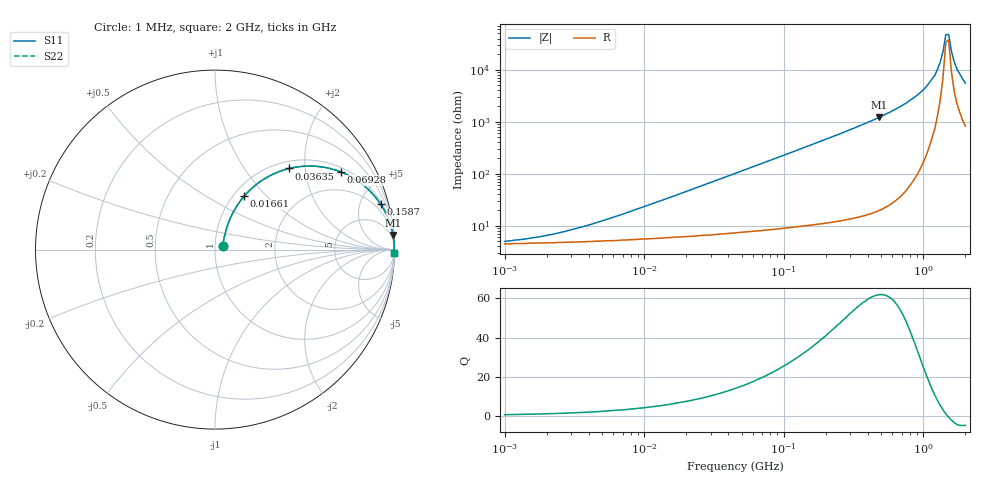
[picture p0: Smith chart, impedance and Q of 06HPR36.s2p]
# MHz S MA R 50
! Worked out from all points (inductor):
!   166 points, 1 MHz to 2 GHz, reference 50 ohm
!   read as one part in series: L = 360 nH near 7.249 MHz
!   highest Q = 61.9 at 479.6 MHz (marker M1), where L = 403 nH
!   self-resonance near 1.449 GHz
!   S11 on the Smith chart (normalised r, x): 1 MHz: 1.09, +0.05; 16.61 MHz: 1.12, +0.75; 36.35 MHz: 1.14, +1.65; 69.28 MHz: 1.16, +3.14; 158.7 MHz: 1.21, +7.26; 2 GHz: open
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1  0.048 25.5  0.957 -1.2  0.957 -1.2  0.048 25.5
1.82  0.059 39.2  0.955 -2.3  0.955 -2.3  0.059 39.2
3.632  0.091 54.5  0.95 -4.5  0.95 -4.5  0.091 54.5
13.193  0.277 63.3  0.91 -15.8  0.91 -15.8  0.277 63.3
16.61  0.338 61.4  0.889 -19.5  0.889 -19.5  0.338 61.4
36.349  0.612 47.6  0.741 -37.6  0.741 -37.6  0.612 47.6
45.763  0.696 42.0  0.67 -44.0  0.67 -44.0  0.696 42.0
69.275  0.825 31.6  0.525 -55.5  0.525 -55.5  0.825 31.6
158.74  0.957 15.3  0.263 -73.1  0.263 -73.1  0.957 15.3
166.224  0.961 14.6  0.252 -73.8  0.252 -73.8  0.961 14.6
479.553  0.995 4.7  0.082 -84.4  0.082 -84.4  0.995 4.7
576.582  0.997 3.7  0.065 -85.3  0.065 -85.3  0.997 3.7
913.953  0.999 1.7  0.03 -86.5  0.03 -86.5  0.999 1.7
1204.929  0.999 0.7  0.013 -83.9  0.013 -83.9  0.999 0.7
1321.216  0.999 0.4  0.007059 -78.8  0.007059 -78.8  0.999 0.4
1383.503  0.999 0.2  0.00442 -71.0  0.00442 -71.0  0.999 0.2
1448.726  0.998 0.1  0.002103 -43.4  0.002103 -43.4  0.998 0.1
1517.024  0.998 -0.1  0.002087 37.9  0.002087 37.9  0.998 -0.1
1588.542  0.998 -0.2  0.004394 65.9  0.004394 65.9  0.998 -0.2
1663.432  0.998 -0.4  0.007027 73.7  0.007027 73.7  0.998 -0.4
1741.852  0.998 -0.5  0.009737 77.1  0.009737 77.1  0.998 -0.5
2000  0.997 -1.0  0.018 80.4  0.018 80.4  0.997 -1.0
